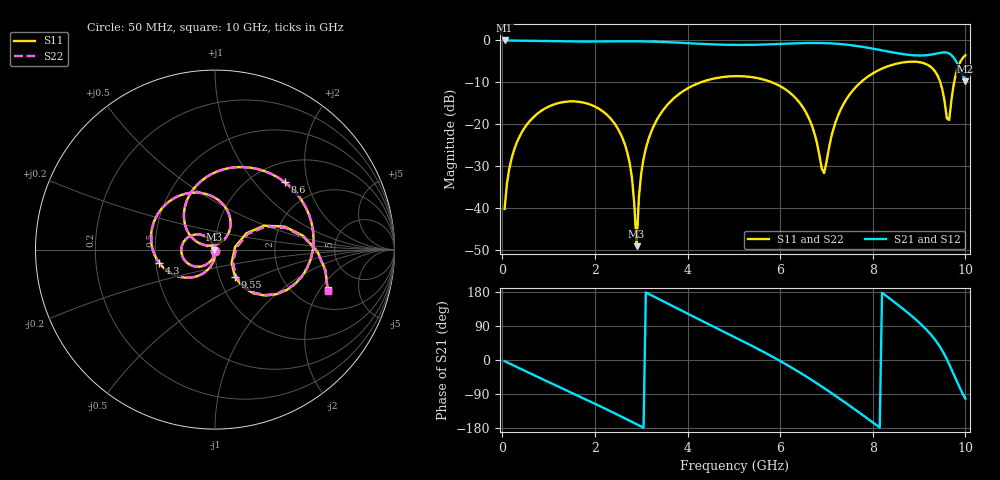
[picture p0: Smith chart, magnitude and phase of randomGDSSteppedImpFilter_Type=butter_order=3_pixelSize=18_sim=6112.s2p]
! freq	dB(S11)	phase(S11)	dB(S12)	phase(S12)
!  dB(S21)	phase(S21)	dB(S22)	phase(S22)
!S-par simulation data
#  GHz  S  DB  R 50
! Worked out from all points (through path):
!   200 points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, 50 MHz to 10 GHz, reference 50 ohm
!   highest |S21| = -0.01 dB at 50 MHz (marker M1); lowest = -9.8 dB at 10 GHz (marker M2)
!   lowest |S11| = -49.0 dB at 2.9 GHz (marker M3), VSWR 1.01, Z = 49.7 - j0.0901 ohm
!   |S11| at or under -10 dB: start of sweep to 4.282 GHz; 5.827 GHz to 7.738 GHz (1.911 GHz wide, 28.2 % of centre); 9.458 GHz to 9.756 GHz (297.9 MHz wide, 3.1 % of centre)
!   |S22| runs from -48.9 to -3.5 dB; largest |S21 - S12| = 0
!   S11 on the Smith chart (normalised r, x): 50 MHz: 1.00, -0.02; 4.3 GHz: 0.52, -0.09; 8.6 GHz: 1.38, +1.46; 9.55 GHz: 1.19, -0.38; 10 GHz: 2.94, -2.38
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0.05  -40.15 -92.6  -0.01 -3.0  -0.01 -3.0  -40.15 -92.6
0.2  -28.15 -102.0  -0.04 -11.8  -0.04 -11.8  -28.15 -102.0
0.5  -20.52 -119.7  -0.08 -29.3  -0.08 -29.3  -20.52 -119.7
1.75  -14.80 168.5  -0.27 -101.0  -0.27 -101.0  -14.80 168.5
2.6  -23.38 119.7  -0.21 -151.0  -0.21 -151.0  -23.38 119.8
2.8  -32.74 111.1  -0.21 -163.2  -0.21 -163.2  -32.73 111.3
2.9  -49.02 -165.1  -0.21 -169.4  -0.21 -169.4  -48.86 -164.8
3.05  -28.23 -92.5  -0.23 -178.7  -0.23 -178.7  -28.23 -92.7
3.4  -17.77 -112.0  -0.33 159.5  -0.33 159.5  -17.77 -112.1
4.3  -9.93 -166.5  -0.82 104.0  -0.82 104.0  -9.93 -166.5
5.05  -8.51 148.6  -1.07 58.6  -1.07 58.6  -8.51 148.6
5.95  -10.61 92.1  -0.86 0.8  -0.86 0.8  -10.61 92.1
6.7  -20.75 48.0  -0.61 -54.2  -0.61 -54.2  -20.74 48.1
6.95  -31.62 112.5  -0.64 -74.2  -0.64 -74.2  -31.60 112.4
7.4  -14.56 145.8  -0.97 -112.0  -0.97 -112.0  -14.56 145.8
8.35  -6.07 66.6  -2.68 163.6  -2.68 163.6  -6.07 66.7
8.6  -5.34 43.8  -3.17 140.1  -3.17 140.1  -5.34 44.0
9.2  -5.91 -17.4  -3.48 74.7  -3.48 74.7  -5.91 -17.0
9.55  -14.47 -53.8  -2.85 13.9  -2.85 13.9  -14.33 -51.8
9.65  -18.95 7.4  -3.12 -11.1  -3.12 -11.1  -18.38 6.1
9.8  -7.78 18.3  -4.99 -52.7  -4.99 -52.7  -7.72 17.2
10  -3.51 -19.7  -9.76 -101.9  -9.76 -101.9  -3.49 -20.2
